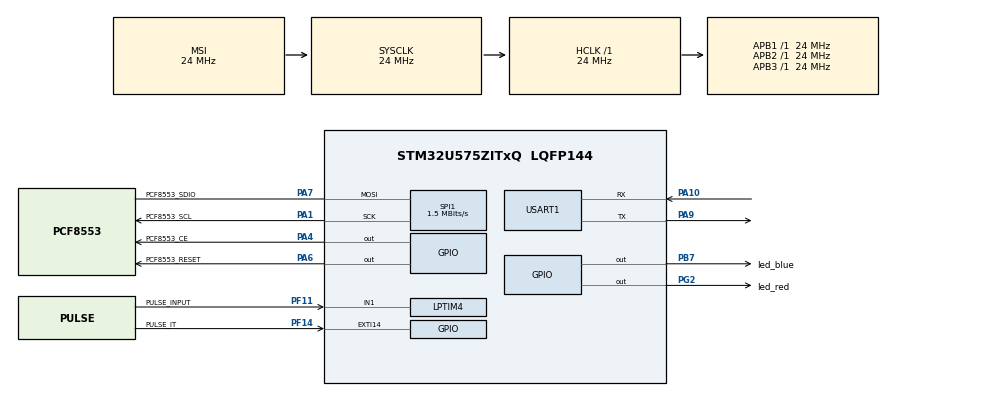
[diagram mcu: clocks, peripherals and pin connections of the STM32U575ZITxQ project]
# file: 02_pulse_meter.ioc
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CORTEX_M33_NS.userName=CORTEX_M33
LPTIM1.ClockPrescaler=LPTIM_PRESCALER_DIV16
Mcu.Family=STM32U5
Mcu.Name=STM32U575ZITxQ
Mcu.Package=LQFP144
NVIC.EXTI14_IRQn=true\:0\:0\:true\:false\:true\:false\:true\:true\:true
NVIC.ICACHE_IRQn=true\:0\:0\:false\:false\:true\:false\:true\:true\:true
NVIC.PriorityGroup=NVIC_PRIORITYGROUP_4
NVIC.RTC_IRQn=true\:0\:0\:false\:false\:true\:false\:true\:true\:true
NVIC.TIM6_IRQn=true\:15\:0\:false\:false\:true\:false\:false\:true\:true
NVIC.TimeBase=TIM6_IRQn
NVIC.TimeBaseIP=TIM6
PA1.GPIO_Label=PCF8553_SCL
PA1.Mode=Simplex_Bidirectional_Master
PA1.Signal=SPI1_SCK
PA10.Mode=Asynchronous
PA10.Signal=USART1_RX
PA4.GPIO_Label=PCF8553_CE
PA4.Signal=GPIO_Output
PA6.GPIO_Label=PCF8553_RESET
PA6.Signal=GPIO_Output
PA7.GPIO_Label=PCF8553_SDIO
PA7.Mode=Simplex_Bidirectional_Master
PA7.Signal=SPI1_MOSI
PA9.Mode=Asynchronous
PA9.Signal=USART1_TX
PB7.GPIO_Label=led_blue
PB7.Signal=GPIO_Output
PC14-OSC32_IN\ (PC14).Mode=LSE-External-Oscillator
PC14-OSC32_IN\ (PC14).Signal=RCC_OSC32_IN
PC15-OSC32_OUT\ (PC15).Mode=LSE-External-Oscillator
PC15-OSC32_OUT\ (PC15).Signal=RCC_OSC32_OUT
PF11.GPIO_Label=PULSE_INPUT
PF11.Mode=Counts_external_clock_with_synchro_01_occur1
PF11.Signal=LPTIM4_IN1
PF14.GPIO_Label=PULSE_IT
PF14.GPIO_ModeDefaultEXTI=GPIO_MODE_IT_FALLING
PF14.Signal=GPXTI14
PG2.GPIO_Label=led_red
PG2.Signal=GPIO_Output
PWR.PowerMode=PWR_SMPS_SUPPLY
PWR.SRAM4FastDownInRunMode=PWR_SRAM4_FULL_RUN_RETENTION
ProjectManager.HeapSize=0x200
ProjectManager.StackSize=0x400
ProjectManager.TargetToolchain=STM32CubeIDE
RCC.ADCFreq_Value=16000000
RCC.AHBFreq_Value=24000000
RCC.APB1Freq_Value=24000000
RCC.APB1TimFreq_Value=24000000
RCC.APB2Freq_Value=24000000
RCC.APB2TimFreq_Value=24000000
RCC.APB3Freq_Value=24000000
RCC.CortexCLockSelectionVirtual=SYSTICK_CLKSOURCE_LSE
RCC.CortexFreq_Value=32768
RCC.EPOD_VALUE=24000000
RCC.HCLKFreq_Value=24000000
RCC.HSE_VALUE=16000000
RCC.HSI48_VALUE=48000000
RCC.HSI_VALUE=16000000
RCC.LPTIM1CLockSelectionVirtual=RCC_LPTIM1CLKSOURCE_LSE
RCC.LPTIM3CLockSelectionVirtual=RCC_LPTIM34CLKSOURCE_LSE
RCC.LSIDIV_VALUE=32000
RCC.MSIClockRange=RCC_MSIRANGE_1
RCC.MSI_VALUE=24000000
RCC.RTCClockSelection=RCC_RTCCLKSOURCE_LSE
RCC.SYSCLKFreq_VALUE=24000000
RCC.USART1CLockSelectionVirtual=RCC_USART1CLKSOURCE_SYSCLK
RCC.USBFreq_Value=48000000
RCC.VCOOutputFreq_Value=3096000000
RTC.WakeUpCounter-WakeUp=4096
SPI1.BaudRatePrescaler=SPI_BAUDRATEPRESCALER_16
SPI1.CalculateBaudRate=1.5 MBits/s
SPI1.DataSize=SPI_DATASIZE_8BIT
SPI1.Direction=SPI_DIRECTION_1LINE
SPI1.Mode=SPI_MODE_MASTER
SPI1.NSSPMode=SPI_NSS_PULSE_DISABLE
SPI1.VirtualType=VM_MASTER
THREADX.TX_APP_GENERATE_INIT_CODE=false
THREADX.TX_ENABLE_EVENT_TRACE=1
THREADX.TX_LOW_POWER=1
THREADX.TX_LOW_POWER_TICKLESS=0
THREADX.TX_LOW_POWER_TIMER_SETUP=app_threadx_lowpower_timer_setup
THREADX.TX_LOW_POWER_USER_ENTER=app_threadx_lowpower_enter
THREADX.TX_LOW_POWER_USER_EXIT=app_threadx_lowpower_exit
THREADX.TX_LOW_POWER_USER_TIMER_ADJUST=app_threadx_lowpower_timer_adjust
USART1.VirtualMode-Asynchronous=VM_ASYNC
VP_ICACHE_VS_ICACHE.Mode=DirectMappedCache
VP_LPTIM1_VS_LPTIM_counterModeInternalClock.Mode=Counts__internal_clock_event_00
VP_LPTIM3_VS_LPTIM_counterModeInternalClock.Mode=Counts__internal_clock_event_00
VP_PWR_VS_DBSignals.Mode=DisableDeadBatterySignals
VP_PWR_VS_LPOM.Mode=PowerOptimisation
VP_RTC_VS_RTC_Activate.Mode=RTC_Enabled
VP_RTC_VS_RTC_WakeUp_intern.Mode=WakeUp
VP_SYS_VS_tim6.Mode=TIM6
VP_THREADX_VS_RTOSJjThreadXJjCoreJjDefault.Mode=Core_Default
VP_THREADX_VS_RTOSJjThreadXJjLow_Power_Support.Mode=Low_Power_Support
VP_THREADX_VS_RTOSJjThreadXJjTraceX_SupportJjDefault.Mode=TraceX_Support_Default
board=custom

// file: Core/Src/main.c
/* USER CODE BEGIN Header */
/**
  ******************************************************************************
  * @file           : main.c
  * @brief          : Main program body
  ******************************************************************************
  * @attention
  *
  * Copyright (c) 2023 STMicroelectronics.
  * All rights reserved.
  *
  * This software is licensed under terms that can be found in the LICENSE file
  * in the root directory of this software component.
  * If no LICENSE file comes with this software, it is provided AS-IS.
  *
  ******************************************************************************
  */
/* USER CODE END Header */
#include "app_threadx.h"
#include "main.h"

/* USER CODE BEGIN Includes */
#include "../../fm_lcd/fm_lcd.h"
/* USER CODE END Includes */

LPTIM_HandleTypeDef hlptim1;
LPTIM_HandleTypeDef hlptim3;
LPTIM_HandleTypeDef hlptim4;

RTC_HandleTypeDef hrtc;

SPI_HandleTypeDef hspi1;

UART_HandleTypeDef huart1;

void SystemClock_Config(void);
static void SystemPower_Config(void);
static void MX_GPIO_Init(void);
static void MX_ICACHE_Init(void);
static void MX_LPTIM1_Init(void);
static void MX_RTC_Init(void);
static void MX_USART1_UART_Init(void);
static void MX_LPTIM4_Init(void);
static void MX_LPTIM3_Init(void);
static void MX_SPI1_Init(void);

int main(void)
{

  /* MCU Configuration--------------------------------------------------------*/

  /* Reset of all peripherals, Initializes the Flash interface and the Systick. */
  HAL_Init();

  /* Configure the system clock */
  SystemClock_Config();

  /* Configure the System Power */
  SystemPower_Config();

  /* Initialize all configured peripherals */
  MX_GPIO_Init();
  MX_ICACHE_Init();
  MX_LPTIM1_Init();
  MX_RTC_Init();
  MX_USART1_UART_Init();
  MX_LPTIM4_Init();
  MX_LPTIM3_Init();
  MX_SPI1_Init();
  /* USER CODE BEGIN 2 */
  /* Enable the Autonomous Mode for the RTC Stop0/1/2 */
  __HAL_RCC_RTCAPB_CLKAM_ENABLE();
  HAL_LPTIM_Counter_Start(&hlptim1);
  lcd_init();

  /* USER CODE END 2 */

  MX_ThreadX_Init();

  /* We should never get here as control is now taken by the scheduler */
  /* Infinite loop */
  while (1)
  {

  }
}

void SystemClock_Config(void)
{
  RCC_OscInitTypeDef RCC_OscInitStruct = {0};
  RCC_ClkInitTypeDef RCC_ClkInitStruct = {0};

  /** Configure the main internal regulator output voltage
  */
  if (HAL_PWREx_ControlVoltageScaling(PWR_REGULATOR_VOLTAGE_SCALE4) != HAL_OK)
  {
    Error_Handler();
  }

  /** Configure LSE Drive Capability
  */
  HAL_PWR_EnableBkUpAccess();
  __HAL_RCC_LSEDRIVE_CONFIG(RCC_LSEDRIVE_LOW);

  /** Initializes the CPU, AHB and APB buses clocks
  */
  RCC_OscInitStruct.OscillatorType = RCC_OSCILLATORTYPE_LSE|RCC_OSCILLATORTYPE_MSI;
  RCC_OscInitStruct.LSEState = RCC_LSE_ON;
  RCC_OscInitStruct.MSIState = RCC_MSI_ON;
  RCC_OscInitStruct.MSICalibrationValue = RCC_MSICALIBRATION_DEFAULT;
  RCC_OscInitStruct.MSIClockRange = RCC_MSIRANGE_1;
  RCC_OscInitStruct.PLL.PLLState = RCC_PLL_NONE;
  if (HAL_RCC_OscConfig(&RCC_OscInitStruct) != HAL_OK)
  {
    Error_Handler();
  }

  /** Initializes the CPU, AHB and APB buses clocks
  */
  RCC_ClkInitStruct.ClockType = RCC_CLOCKTYPE_HCLK|RCC_CLOCKTYPE_SYSCLK
                              |RCC_CLOCKTYPE_PCLK1|RCC_CLOCKTYPE_PCLK2
                              |RCC_CLOCKTYPE_PCLK3;
  RCC_ClkInitStruct.SYSCLKSource = RCC_SYSCLKSOURCE_MSI;
  RCC_ClkInitStruct.AHBCLKDivider = RCC_SYSCLK_DIV1;
  RCC_ClkInitStruct.APB1CLKDivider = RCC_HCLK_DIV1;
  RCC_ClkInitStruct.APB2CLKDivider = RCC_HCLK_DIV1;
  RCC_ClkInitStruct.APB3CLKDivider = RCC_HCLK_DIV1;

  if (HAL_RCC_ClockConfig(&RCC_ClkInitStruct, FLASH_LATENCY_1) != HAL_OK)
  {
    Error_Handler();
  }
}

/**
  * @brief Power Configuration
  * @retval None
  */
static void SystemPower_Config(void)
{
  HAL_PWREx_EnableVddIO2();

  /*
   * Disable the internal Pull-Up in Dead Battery pins of UCPD peripheral
   */
  HAL_PWREx_DisableUCPDDeadBattery();

  /*
   * Switch to SMPS regulator instead of LDO
   */
  if (HAL_PWREx_ConfigSupply(PWR_SMPS_SUPPLY) != HAL_OK)
  {
    Error_Handler();
  }

  /*
   * SRAM4 Fast In Run Mode Config
   */
  HAL_PWREx_EnableSRAM4FastWakeUp();
}

static void MX_ICACHE_Init(void)
{

  /** Enable instruction cache in 1-way (direct mapped cache)
  */
  if (HAL_ICACHE_ConfigAssociativityMode(ICACHE_1WAY) != HAL_OK)
  {
    Error_Handler();
  }
  if (HAL_ICACHE_Enable() != HAL_OK)
  {
    Error_Handler();
  }

}

static void MX_LPTIM1_Init(void)
{

  hlptim1.Instance = LPTIM1;
  hlptim1.Init.Clock.Source = LPTIM_CLOCKSOURCE_APBCLOCK_LPOSC;
  hlptim1.Init.Clock.Prescaler = LPTIM_PRESCALER_DIV16;
  hlptim1.Init.Trigger.Source = LPTIM_TRIGSOURCE_SOFTWARE;
  hlptim1.Init.Period = 65535;
  hlptim1.Init.UpdateMode = LPTIM_UPDATE_IMMEDIATE;
  hlptim1.Init.CounterSource = LPTIM_COUNTERSOURCE_INTERNAL;
  hlptim1.Init.Input1Source = LPTIM_INPUT1SOURCE_GPIO;
  hlptim1.Init.Input2Source = LPTIM_INPUT2SOURCE_GPIO;
  hlptim1.Init.RepetitionCounter = 0;
  if (HAL_LPTIM_Init(&hlptim1) != HAL_OK)
  {
    Error_Handler();
  }
  /* USER CODE BEGIN LPTIM1_Init 2 */

  /*
   * To run in stop mode the LPBAM low-power background autonomous mode must be
   * configured
   *
   */
  __HAL_RCC_LPTIM1_CLKAM_ENABLE();
  __HAL_RCC_LPDMA1_CLKAM_ENABLE();
  __HAL_RCC_SRAM4_CLKAM_ENABLE();

  /* USER CODE END LPTIM1_Init 2 */

}

static void MX_LPTIM3_Init(void)
{

  hlptim3.Instance = LPTIM3;
  hlptim3.Init.Clock.Source = LPTIM_CLOCKSOURCE_APBCLOCK_LPOSC;
  hlptim3.Init.Clock.Prescaler = LPTIM_PRESCALER_DIV1;
  hlptim3.Init.Trigger.Source = LPTIM_TRIGSOURCE_SOFTWARE;
  hlptim3.Init.Period = 65535;
  hlptim3.Init.UpdateMode = LPTIM_UPDATE_IMMEDIATE;
  hlptim3.Init.CounterSource = LPTIM_COUNTERSOURCE_INTERNAL;
  hlptim3.Init.Input1Source = LPTIM_INPUT1SOURCE_GPIO;
  hlptim3.Init.Input2Source = LPTIM_INPUT2SOURCE_GPIO;
  hlptim3.Init.RepetitionCounter = 0;
  if (HAL_LPTIM_Init(&hlptim3) != HAL_OK)
  {
    Error_Handler();
  }
  /* USER CODE BEGIN LPTIM3_Init 2 */

  /*
   * To run in stop mode the LPBAM low-power background autonomous mode must be
   * configured
   *
   */
  __HAL_RCC_LPTIM3_CLKAM_ENABLE();
  __HAL_RCC_LPDMA1_CLKAM_ENABLE();
  __HAL_RCC_SRAM4_CLKAM_ENABLE();

  /* USER CODE END LPTIM3_Init 2 */

}

static void MX_LPTIM4_Init(void)
{

  hlptim4.Instance = LPTIM4;
  hlptim4.Init.Clock.Source = LPTIM_CLOCKSOURCE_APBCLOCK_LPOSC;
  hlptim4.Init.Clock.Prescaler = LPTIM_PRESCALER_DIV1;
  hlptim4.Init.UltraLowPowerClock.Polarity = LPTIM_CLOCKPOLARITY_RISING;
  hlptim4.Init.UltraLowPowerClock.SampleTime = LPTIM_CLOCKSAMPLETIME_DIRECTTRANSITION;
  hlptim4.Init.Trigger.Source = LPTIM_TRIGSOURCE_SOFTWARE;
  hlptim4.Init.Period = 65535;
  hlptim4.Init.UpdateMode = LPTIM_UPDATE_IMMEDIATE;
  hlptim4.Init.CounterSource = LPTIM_COUNTERSOURCE_EXTERNAL;
  hlptim4.Init.Input1Source = LPTIM_INPUT1SOURCE_GPIO;
  hlptim4.Init.Input2Source = LPTIM_INPUT2SOURCE_GPIO;
  hlptim4.Init.RepetitionCounter = 0;
  if (HAL_LPTIM_Init(&hlptim4) != HAL_OK)
  {
    Error_Handler();
  }
  /* USER CODE BEGIN LPTIM4_Init 2 */

  __HAL_RCC_LPTIM4_CLKAM_ENABLE();
  __HAL_RCC_LPDMA1_CLKAM_ENABLE();
  __HAL_RCC_SRAM4_CLKAM_ENABLE();

  /* USER CODE END LPTIM4_Init 2 */

}

static void MX_RTC_Init(void)
{

  RTC_PrivilegeStateTypeDef privilegeState = {0};

  /** Initialize RTC Only
  */
  hrtc.Instance = RTC;
  hrtc.Init.HourFormat = RTC_HOURFORMAT_24;
  hrtc.Init.AsynchPrediv = 127;
  hrtc.Init.SynchPrediv = 255;
  hrtc.Init.OutPut = RTC_OUTPUT_DISABLE;
  hrtc.Init.OutPutRemap = RTC_OUTPUT_REMAP_NONE;
  hrtc.Init.OutPutPolarity = RTC_OUTPUT_POLARITY_HIGH;
  hrtc.Init.OutPutType = RTC_OUTPUT_TYPE_OPENDRAIN;
  hrtc.Init.OutPutPullUp = RTC_OUTPUT_PULLUP_NONE;
  hrtc.Init.BinMode = RTC_BINARY_NONE;
  if (HAL_RTC_Init(&hrtc) != HAL_OK)
  {
    Error_Handler();
  }
  privilegeState.rtcPrivilegeFull = RTC_PRIVILEGE_FULL_NO;
  privilegeState.backupRegisterPrivZone = RTC_PRIVILEGE_BKUP_ZONE_NONE;
  privilegeState.backupRegisterStartZone2 = RTC_BKP_DR0;
  privilegeState.backupRegisterStartZone3 = RTC_BKP_DR0;
  if (HAL_RTCEx_PrivilegeModeSet(&hrtc, &privilegeState) != HAL_OK)
  {
    Error_Handler();
  }

  /** Enable the WakeUp
  */
  if (HAL_RTCEx_SetWakeUpTimer_IT(&hrtc, 4096, RTC_WAKEUPCLOCK_RTCCLK_DIV16, 0) != HAL_OK)
  {
    Error_Handler();
  }

}

static void MX_SPI1_Init(void)
{

  SPI_AutonomousModeConfTypeDef HAL_SPI_AutonomousMode_Cfg_Struct = {0};

  /* SPI1 parameter configuration*/
  hspi1.Instance = SPI1;
  hspi1.Init.Mode = SPI_MODE_MASTER;
  hspi1.Init.Direction = SPI_DIRECTION_1LINE;
  hspi1.Init.DataSize = SPI_DATASIZE_8BIT;
  hspi1.Init.CLKPolarity = SPI_POLARITY_LOW;
  hspi1.Init.CLKPhase = SPI_PHASE_1EDGE;
  hspi1.Init.NSS = SPI_NSS_SOFT;
  hspi1.Init.BaudRatePrescaler = SPI_BAUDRATEPRESCALER_16;
  hspi1.Init.FirstBit = SPI_FIRSTBIT_MSB;
  hspi1.Init.TIMode = SPI_TIMODE_DISABLE;
  hspi1.Init.CRCCalculation = SPI_CRCCALCULATION_DISABLE;
  hspi1.Init.CRCPolynomial = 0x7;
  hspi1.Init.NSSPMode = SPI_NSS_PULSE_DISABLE;
  hspi1.Init.NSSPolarity = SPI_NSS_POLARITY_LOW;
  hspi1.Init.FifoThreshold = SPI_FIFO_THRESHOLD_01DATA;
  hspi1.Init.MasterSSIdleness = SPI_MASTER_SS_IDLENESS_00CYCLE;
  hspi1.Init.MasterInterDataIdleness = SPI_MASTER_INTERDATA_IDLENESS_00CYCLE;
  hspi1.Init.MasterReceiverAutoSusp = SPI_MASTER_RX_AUTOSUSP_DISABLE;
  hspi1.Init.MasterKeepIOState = SPI_MASTER_KEEP_IO_STATE_DISABLE;
  hspi1.Init.IOSwap = SPI_IO_SWAP_DISABLE;
  hspi1.Init.ReadyMasterManagement = SPI_RDY_MASTER_MANAGEMENT_INTERNALLY;
  hspi1.Init.ReadyPolarity = SPI_RDY_POLARITY_HIGH;
  if (HAL_SPI_Init(&hspi1) != HAL_OK)
  {
    Error_Handler();
  }
  HAL_SPI_AutonomousMode_Cfg_Struct.TriggerState = SPI_AUTO_MODE_DISABLE;
  HAL_SPI_AutonomousMode_Cfg_Struct.TriggerSelection = SPI_GRP1_GPDMA_CH0_TCF_TRG;
  HAL_SPI_AutonomousMode_Cfg_Struct.TriggerPolarity = SPI_TRIG_POLARITY_RISING;
  if (HAL_SPIEx_SetConfigAutonomousMode(&hspi1, &HAL_SPI_AutonomousMode_Cfg_Struct) != HAL_OK)
  {
    Error_Handler();
  }

}

static void MX_USART1_UART_Init(void)
{

  huart1.Instance = USART1;
  huart1.Init.BaudRate = 115200;
  huart1.Init.WordLength = UART_WORDLENGTH_8B;
  huart1.Init.StopBits = UART_STOPBITS_1;
  huart1.Init.Parity = UART_PARITY_NONE;
  huart1.Init.Mode = UART_MODE_TX_RX;
  huart1.Init.HwFlowCtl = UART_HWCONTROL_NONE;
  huart1.Init.OverSampling = UART_OVERSAMPLING_16;
  huart1.Init.OneBitSampling = UART_ONE_BIT_SAMPLE_DISABLE;
  huart1.Init.ClockPrescaler = UART_PRESCALER_DIV1;
  huart1.AdvancedInit.AdvFeatureInit = UART_ADVFEATURE_NO_INIT;
  if (HAL_UART_Init(&huart1) != HAL_OK)
  {
    Error_Handler();
  }
  if (HAL_UARTEx_SetTxFifoThreshold(&huart1, UART_TXFIFO_THRESHOLD_1_8) != HAL_OK)
  {
    Error_Handler();
  }
  if (HAL_UARTEx_SetRxFifoThreshold(&huart1, UART_RXFIFO_THRESHOLD_1_8) != HAL_OK)
  {
    Error_Handler();
  }
  if (HAL_UARTEx_DisableFifoMode(&huart1) != HAL_OK)
  {
    Error_Handler();
  }

}

static void MX_GPIO_Init(void)
{
  GPIO_InitTypeDef GPIO_InitStruct = {0};

  /* GPIO Ports Clock Enable */
  __HAL_RCC_GPIOC_CLK_ENABLE();
  __HAL_RCC_GPIOA_CLK_ENABLE();
  __HAL_RCC_GPIOF_CLK_ENABLE();
  __HAL_RCC_GPIOG_CLK_ENABLE();
  __HAL_RCC_GPIOB_CLK_ENABLE();

  /*Configure GPIO pin Output Level */
  HAL_GPIO_WritePin(GPIOA, PCF8553_CE_Pin|PCF8553_RESET_Pin, GPIO_PIN_RESET);

  /*Configure GPIO pin Output Level */
  HAL_GPIO_WritePin(led_red_GPIO_Port, led_red_Pin, GPIO_PIN_RESET);

  /*Configure GPIO pin Output Level */
  HAL_GPIO_WritePin(led_blue_GPIO_Port, led_blue_Pin, GPIO_PIN_RESET);

  /*Configure GPIO pins : PCF8553_CE_Pin PCF8553_RESET_Pin */
  GPIO_InitStruct.Pin = PCF8553_CE_Pin|PCF8553_RESET_Pin;
  GPIO_InitStruct.Mode = GPIO_MODE_OUTPUT_PP;
  GPIO_InitStruct.Pull = GPIO_NOPULL;
  GPIO_InitStruct.Speed = GPIO_SPEED_FREQ_LOW;
  HAL_GPIO_Init(GPIOA, &GPIO_InitStruct);

  /*Configure GPIO pin : PULSE_IT_Pin */
  GPIO_InitStruct.Pin = PULSE_IT_Pin;
  GPIO_InitStruct.Mode = GPIO_MODE_IT_FALLING;
  GPIO_InitStruct.Pull = GPIO_NOPULL;
  HAL_GPIO_Init(PULSE_IT_GPIO_Port, &GPIO_InitStruct);

  /*Configure GPIO pin : led_red_Pin */
  GPIO_InitStruct.Pin = led_red_Pin;
  GPIO_InitStruct.Mode = GPIO_MODE_OUTPUT_PP;
  GPIO_InitStruct.Pull = GPIO_NOPULL;
  GPIO_InitStruct.Speed = GPIO_SPEED_FREQ_LOW;
  HAL_GPIO_Init(led_red_GPIO_Port, &GPIO_InitStruct);

  /*Configure GPIO pin : led_blue_Pin */
  GPIO_InitStruct.Pin = led_blue_Pin;
  GPIO_InitStruct.Mode = GPIO_MODE_OUTPUT_PP;
  GPIO_InitStruct.Pull = GPIO_NOPULL;
  GPIO_InitStruct.Speed = GPIO_SPEED_FREQ_LOW;
  HAL_GPIO_Init(led_blue_GPIO_Port, &GPIO_InitStruct);

  /* EXTI interrupt init*/
  HAL_NVIC_SetPriority(EXTI14_IRQn, 0, 0);
  HAL_NVIC_EnableIRQ(EXTI14_IRQn);

}

/* USER CODE BEGIN 4 */

void call_system_clk_config()
{
    SystemClock_Config();
}

void HAL_RTCEx_WakeUpTimerEventCallback(RTC_HandleTypeDef *hrtc)
{
  /* Prevent unused argument(s) compilation warning */
  UNUSED(hrtc);
  HAL_RTCEx_DeactivateWakeUpTimer(hrtc);

  /* NOTE : This function should not be modified, when the callback is needed,
   * the HAL_RTCEx_WakeUpTimerEventCallback could be implemented in the user
   * file
   */
}

/* USER CODE END 4 */

void HAL_TIM_PeriodElapsedCallback(TIM_HandleTypeDef *htim)
{
  if (htim->Instance == TIM6) {
    HAL_IncTick();
  }
}

void Error_Handler(void)
{
  /* USER CODE BEGIN Error_Handler_Debug */
  /* User can add his own implementation to report the HAL error return state */
  __disable_irq();
  HAL_GPIO_TogglePin(led_red_GPIO_Port, led_red_Pin);
  while (1)
  {
  }
  /* USER CODE END Error_Handler_Debug */
}
